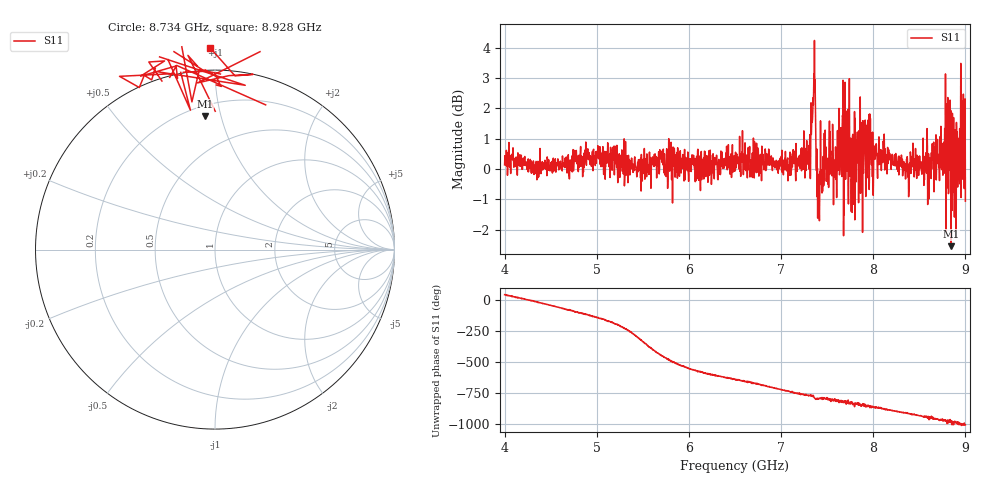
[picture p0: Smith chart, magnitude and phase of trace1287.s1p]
! Created with skrf 1.8.0 (http://scikit-rf.org).
# Hz S RI R 50.0
!freq ReS11 ImS11
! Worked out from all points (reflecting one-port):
!   1601 points, 4 GHz to 9 GHz, reference 50 ohm
!   lowest |S11| = -2.5 dB at 8.844 GHz (marker M1), VSWR 6.87, Z = 13.3 + j44.6 ohm
!   phase of S11 starts at 43 deg and turns -1053 deg over the sweep
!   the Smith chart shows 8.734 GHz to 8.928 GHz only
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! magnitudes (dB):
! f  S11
! 4 GHz  0.1
! 4.625 GHz  -0.1
! 5.194 GHz  0.4
! 5.25 GHz  -0.3
! 5.875 GHz  -0.3
! 6.5 GHz  0.3
! 7.125 GHz  0.2
! 7.297 GHz  0.4
! 7.35 GHz  2.1
! 7.369 GHz  2.9
! 7.4 GHz  -0.2
! 7.416 GHz  -1.7
! 7.538 GHz  0.6
! 7.591 GHz  0.7
! 7.65 GHz  0.4
! 7.659 GHz  -0.2
! 7.669 GHz  1.7
! 7.716 GHz  -0.1
! 7.75 GHz  -0.1
! 7.784 GHz  0.1
! 7.834 GHz  0.4
! 7.95 GHz  0.1
! 8.375 GHz  -0.3
! 8.616 GHz  0.2
! 8.788 GHz  0.1
! 8.844 GHz  -2.5
! 8.972 GHz  0.3
! 9 GHz  -1.1
